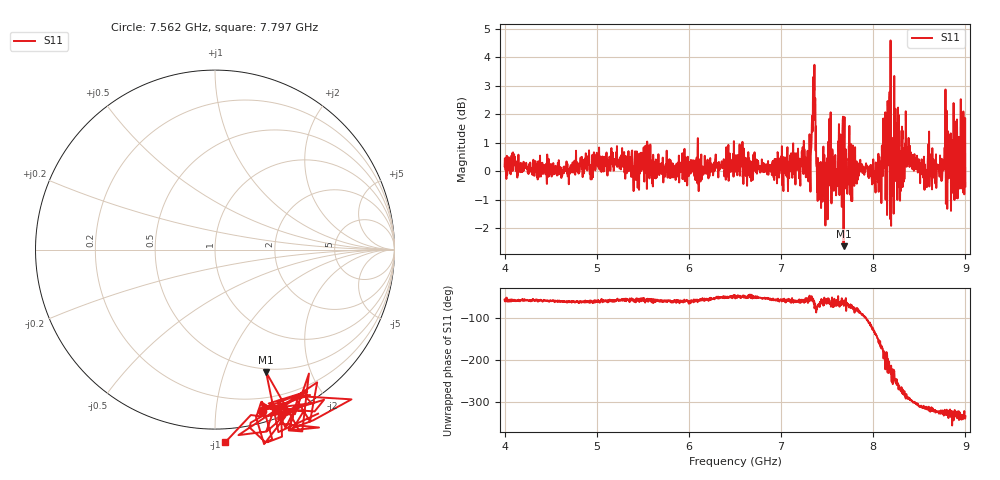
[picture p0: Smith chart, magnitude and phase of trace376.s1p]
! Created with skrf 1.8.0 (http://scikit-rf.org).
# Hz S RI R 50.0
!freq ReS11 ImS11
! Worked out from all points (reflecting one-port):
!   1601 points, 4 GHz to 9 GHz, reference 50 ohm
!   lowest |S11| = -2.6 dB at 7.678 GHz (marker M1), VSWR 6.67, Z = 23.2 - j69.8 ohm
!   phase of S11 starts at -56 deg and turns -277 deg over the sweep
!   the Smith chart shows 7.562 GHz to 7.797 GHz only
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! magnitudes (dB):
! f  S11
! 4 GHz  0.2
! 4.625 GHz  -0.1
! 5.25 GHz  0.1
! 5.875 GHz  0.2
! 6.5 GHz  0.2
! 7.125 GHz  0.6
! 7.294 GHz  0.4
! 7.319 GHz  -0.7
! 7.353 GHz  3.3
! 7.412 GHz  0.1
! 7.488 GHz  -0.3
! 7.534 GHz  -0.2
! 7.588 GHz  0.6
! 7.647 GHz  0.3
! 7.678 GHz  -2.6
! 7.75 GHz  -0.8
! 8.066 GHz  0.5
! 8.159 GHz  1.4
! 8.162 GHz  1.0
! 8.216 GHz  1.2
! 8.253 GHz  1.2
! 8.316 GHz  1.1
! 8.375 GHz  0.7
! 8.559 GHz  0.2
! 8.8 GHz  0.6
! 8.919 GHz  -0.4
! 8.959 GHz  2.0
! 9 GHz  -0.5
